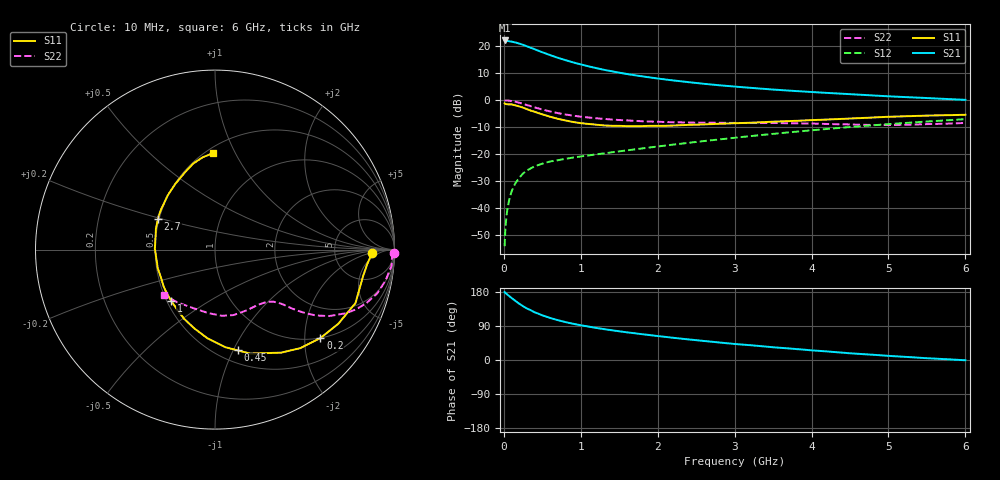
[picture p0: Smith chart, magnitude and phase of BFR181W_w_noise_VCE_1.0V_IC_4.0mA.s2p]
! Infineon Technologies  Discrete & RF Semiconductors
! BFR181W
! VCE =  1.0 V,  IC =  4.0 mA
! Common Emitter S-Parameters:  Jan 2017
# GHz  S  MA  R  50
!  f  S11  S21  S12  S22
! GHz  MAG  ANG  MAG  ANG  MAG  ANG  MAG  ANG
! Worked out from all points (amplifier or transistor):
!   77 points, 10 MHz to 6 GHz, reference 50 ohm
!   highest |S21| = 22.1 dB at 10 MHz (marker M1)
!   |S21| within 3 dB of that: start of sweep to 377.3 MHz
!   unconditionally stable (mu >= 1): 1.327 GHz to 3.744 GHz
!   at 130 MHz: K = 0.15, MSG = 26.6 dB, |S12| = -31.8 dB
!   at 2.2 GHz: K = 1.11, MAG = 9.8 dB, |S12| = -16.4 dB
!   at 6 GHz: K = 0.88, MSG = 3.6 dB, |S12| = -7.0 dB
!   lowest NFmin = 0.92 dB at 450 MHz
!   S11 on the Smith chart (normalised r, x): 10 MHz: 15, -2; 200 MHz: 1.00, -2.39; 450 MHz: 0.62, -1.04; 1 GHz: 0.53, -0.35; 2.7 GHz: 0.49, +0.20; 6 GHz: 0.54, +0.82
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0.01  0.8757 -1.3  12.71 179.5  0.002 93.9  0.9964 -1.1
0.02  0.852 -5.4  12.5 176.9  0.0042 92.3  0.9874 -1.9
0.04  0.8421 -8.6  12.45 173.6  0.0083 84.3  0.987 -4.2
0.1  0.8375 -20.8  12.12 163.7  0.0204 79.7  0.9652 -10.4
0.15  0.8014 -31.1  11.68 156.0  0.0291 73.4  0.9354 -15.2
0.2  0.7669 -40.0  11.12 148.5  0.0368 69.9  0.8962 -19.3
0.25  0.7263 -49.1  10.55 141.9  0.0442 65.2  0.8556 -22.8
0.3  0.6822 -57.3  9.905 136.0  0.0502 61.9  0.8131 -25.8
0.4  0.611 -71.4  8.753 125.9  0.0597 57.0  0.7363 -30.2
0.45  0.5756 -77.3  8.2 122.2  0.0633 55.4  0.7038 -31.6
0.6  0.4953 -95.0  6.825 111.0  0.0735 52.2  0.6192 -35.0
0.7  0.4528 -105.0  6.088 105.2  0.0775 51.4  0.5773 -36.3
0.8  0.4219 -114.2  5.505 100.1  0.0823 51.0  0.5442 -37.3
1  0.3763 -130.1  4.585 91.7  0.0911 51.3  0.4948 -38.6
1.1  0.3633 -137.5  4.225 88.2  0.0951 51.7  0.4784 -39.2
1.6  0.3313 -167.2  3.046 73.0  0.1181 54.3  0.4232 -43.4
2.1  0.3364 171.0  2.414 61.0  0.145 56.4  0.3949 -50.1
2.7  0.361 151.4  1.946 48.3  0.1816 57.1  0.3824 -60.4
3.1  0.3784 140.7  1.739 40.7  0.209 56.6  0.3788 -67.3
4.1  0.4329 119.2  1.389 24.1  0.2855 52.3  0.3666 -86.4
5.1  0.4979 103.1  1.161 9.7  0.3689 45.0  0.3485 -113.5
6  0.5371 91.2  1.014 -0.7  0.4455 36.7  0.3797 -138.5
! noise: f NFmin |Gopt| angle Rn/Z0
0.45  0.92  0.39  16  0.24
0.9  0.97  0.36  31  0.24
1.9  1.4  0.2  79  0.2
2.4  1.56  0.17  94  0.22
